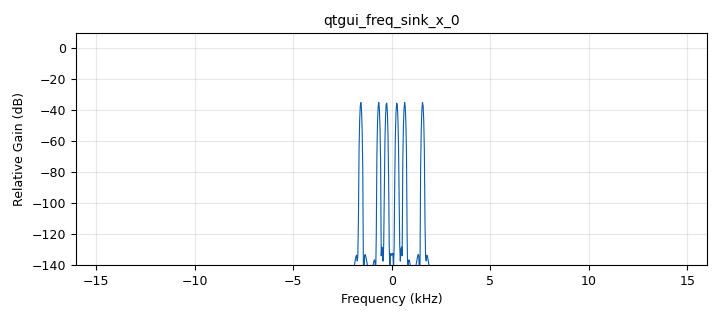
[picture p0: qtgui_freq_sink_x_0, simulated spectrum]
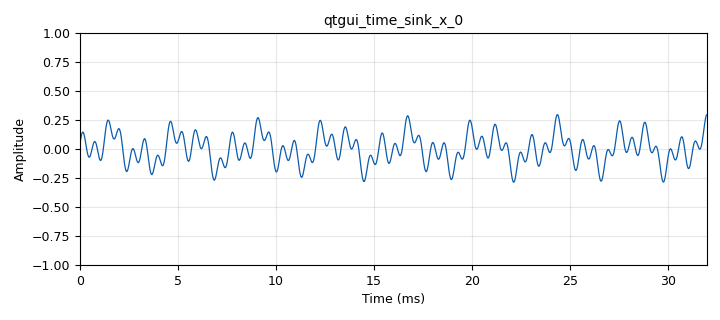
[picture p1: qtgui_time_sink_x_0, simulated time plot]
options:
  parameters:
    author: pi
    generate_options: qt_gui
    id: single_tone_CH7
    output_language: python
    title: Not titled yet
  states: {}

blocks:
- name: freq
  id: variable_qtgui_entry
  parameters:
    type: int
    value: '500'
  states: {}
- name: samp_rate
  id: variable
  parameters:
    value: '32000'
  states: {}
- name: analog_sig_source_x_0
  id: analog_sig_source_x
  parameters:
    amp: '0.1'
    freq: '261.6'
    offset: '0'
    phase: '0'
    samp_rate: samp_rate
    type: float
    waveform: analog.GR_COS_WAVE
  states: {}
- name: analog_sig_source_x_0_0
  id: analog_sig_source_x
  parameters:
    amp: '0.1'
    freq: '659.2'
    offset: '0'
    phase: '0'
    samp_rate: samp_rate
    type: float
    waveform: analog.GR_COS_WAVE
  states: {}
- name: analog_sig_source_x_0_0_0
  id: analog_sig_source_x
  parameters:
    amp: '0.1'
    freq: '1568'
    offset: '0'
    phase: '0'
    samp_rate: samp_rate
    type: float
    waveform: analog.GR_COS_WAVE
  states: {}
- name: audio_sink_0
  id: audio_sink
  parameters:
    samp_rate: samp_rate
  states: {}
- name: blocks_add_xx_0
  id: blocks_add_xx
  parameters:
    num_inputs: '3'
    type: float
  states: {}
- name: qtgui_freq_sink_x_0
  id: qtgui_freq_sink_x
  parameters:
    bw: samp_rate
    fc: '0'
    fftsize: '1024'
    type: float
    wintype: firdes.WIN_BLACKMAN_hARRIS
  states: {}
- name: qtgui_time_sink_x_0
  id: qtgui_time_sink_x
  parameters:
    size: '1024'
    srate: samp_rate
    type: float
  states: {}

connections:
- [analog_sig_source_x_0, '0', blocks_add_xx_0, '0']
- [analog_sig_source_x_0_0, '0', blocks_add_xx_0, '1']
- [analog_sig_source_x_0_0_0, '0', blocks_add_xx_0, '2']
- [blocks_add_xx_0, '0', audio_sink_0, '0']
- [blocks_add_xx_0, '0', qtgui_freq_sink_x_0, '0']
- [blocks_add_xx_0, '0', qtgui_time_sink_x_0, '0']

metadata:
  file_format: 1
